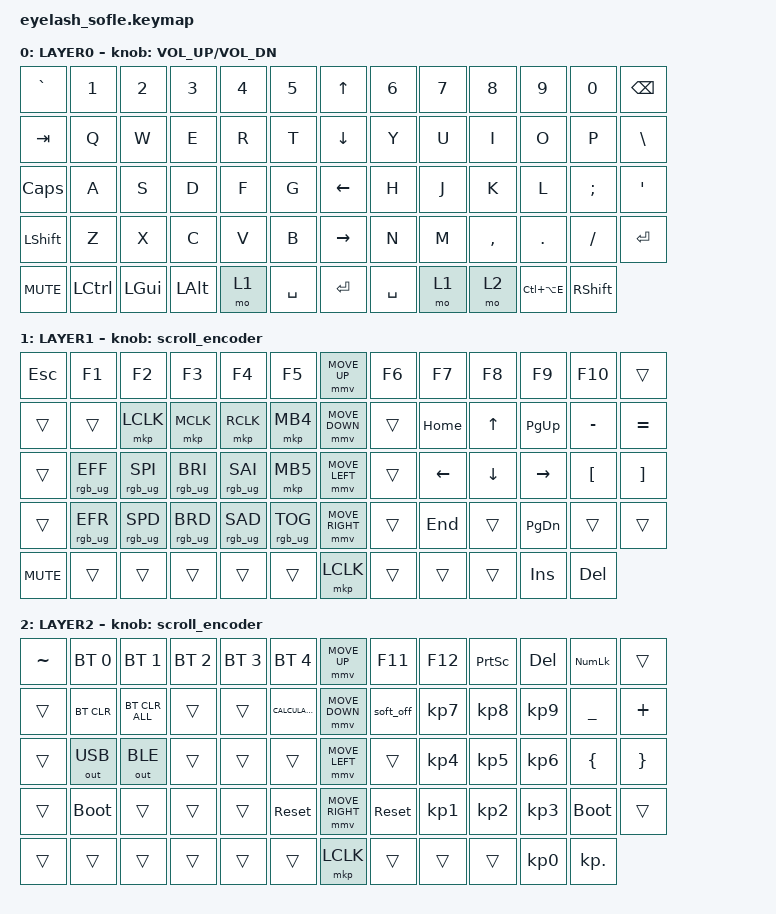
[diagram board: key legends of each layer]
#include <dt-bindings/zmk/mouse.h>
#include <input/processors.dtsi>
#include <behaviors.dtsi>
#include <dt-bindings/zmk/bt.h>
#include <dt-bindings/zmk/keys.h>
#include <dt-bindings/zmk/outputs.h>
#include <dt-bindings/zmk/pointing.h>
#include <dt-bindings/zmk/pointing.h>
#include <dt-bindings/zmk/pointing.h>
#include <dt-bindings/zmk/rgb.h>

/*

   &mmv_input_listener {
       input-processors = <&zip_xy_scaler 2 1>;
   };

   &msc_input_listener {
       input-processors = <&zip_xy_scaler 2 1>;
   };

 */

#define ZMK_MOUSE_DEFAULT_MOVE_VAL 1200  // 600
#define ZMK_MOUSE_DEFAULT_SCRL_VAL 20    // 10

/ {
    behaviors {
        mmv {
            acceleration-exponent = <1>;      // 1
            time-to-max-speed-ms = <900>;    // 40
            delay-ms = <0>;                   // 0
        };

        msc {
            acceleration-exponent = <1>;      // 0
            time-to-max-speed-ms = <400>;      // 500
            delay-ms = <0>;                   //   10
        };
    };

    scroll_encoder: scroll_encoder {
        compatible = "zmk,behavior-sensor-rotate";
        #sensor-binding-cells = <0>;
        bindings = <&msc SCRL_DOWN>, <&msc SCRL_UP>;

        tap-ms = <30>;
    };

    keymap {
        compatible = "zmk,keymap";

        QWERTY {
            bindings = <
&kp GRAVE   &kp N1     &kp N2        &kp N3        &kp N4  &kp N5       &kp UP_ARROW     &kp N6     &kp N7  &kp N8     &kp N9         &kp N0           &kp BACKSPACE
&kp TAB     &kp Q      &kp W         &kp E         &kp R   &kp T        &kp DOWN_ARROW   &kp Y      &kp U   &kp I      &kp O          &kp P            &kp BSLH
&kp CAPS    &kp A      &kp S         &kp D         &kp F   &kp G        &kp LEFT_ARROW   &kp H      &kp J   &kp K      &kp L          &kp SEMI         &kp APOS
&kp LSHFT   &kp Z      &kp X         &kp C         &kp V   &kp B        &kp RIGHT_ARROW  &kp N      &kp M   &kp COMMA  &kp DOT        &kp FSLH         &kp ENTER
&kp C_MUTE  &kp LCTRL  &kp LEFT_GUI  &kp LEFT_ALT  &mo 1   &kp SPACE    &kp ENTER        &kp SPACE  &mo 1   &mo 2      &kp LC(LA(E))  &kp RIGHT_SHIFT
            >;

            sensor-bindings = <&inc_dec_kp C_VOLUME_UP C_VOL_DN>;
            display-name = "LAYER0";
        };

        NAV {
            bindings = <
&kp ESCAPE  &kp F1           &kp F2           &kp F3           &kp F4           &kp F5             &mmv MOVE_UP     &kp F6  &kp F7    &kp F8    &kp F9     &kp F10           &trans
&trans      &trans           &mkp LCLK        &mkp MCLK        &mkp RCLK        &mkp MB4           &mmv MOVE_DOWN   &trans  &kp HOME  &kp UP    &kp PG_UP  &kp MINUS         &kp EQUAL
&trans      &rgb_ug RGB_EFF  &rgb_ug RGB_SPI  &rgb_ug RGB_BRI  &rgb_ug RGB_SAI  &mkp MB5           &mmv MOVE_LEFT   &trans  &kp LEFT  &kp DOWN  &kp RIGHT  &kp LEFT_BRACKET  &kp RIGHT_BRACKET
&trans      &rgb_ug RGB_EFR  &rgb_ug RGB_SPD  &rgb_ug RGB_BRD  &rgb_ug RGB_SAD  &rgb_ug RGB_TOG    &mmv MOVE_RIGHT  &trans  &kp END   &trans    &kp PG_DN  &trans            &trans
&kp C_MUTE  &trans           &trans           &trans           &trans           &trans             &mkp LCLK        &trans  &trans    &trans    &kp INS    &kp DEL
            >;

            display-name = "LAYER1";
            sensor-bindings = <&scroll_encoder>;
        };

        FUNCTION {
            bindings = <
&kp TILDE  &bt BT_SEL 0  &bt BT_SEL 1    &bt BT_SEL 2  &bt BT_SEL 3  &bt BT_SEL 4        &mmv MOVE_UP     &kp F11     &kp F12    &kp PRINTSCREEN  &kp DEL    &kp KP_NUMLOCK  &trans
&trans     &bt BT_CLR    &bt BT_CLR_ALL  &trans        &trans        &kp K_CALCULATOR    &mmv MOVE_DOWN   &soft_off   &kp KP_N7  &kp KP_N8        &kp KP_N9  &kp UNDER       &kp PLUS
&trans     &out OUT_USB  &out OUT_BLE    &trans        &trans        &trans              &mmv MOVE_LEFT   &trans      &kp KP_N4  &kp KP_N5        &kp KP_N6  &kp LBRC        &kp RBRC
&trans     &bootloader   &trans          &trans        &trans        &sys_reset          &mmv MOVE_RIGHT  &sys_reset  &kp KP_N1  &kp KP_N2        &kp KP_N3  &bootloader     &trans
&trans     &trans        &trans          &trans        &trans        &trans              &mkp LCLK        &trans      &trans     &trans           &kp KP_N0  &kp KP_DOT
            >;

            sensor-bindings = <&scroll_encoder>;
            label = "LAYER2";
        };
    };
};
